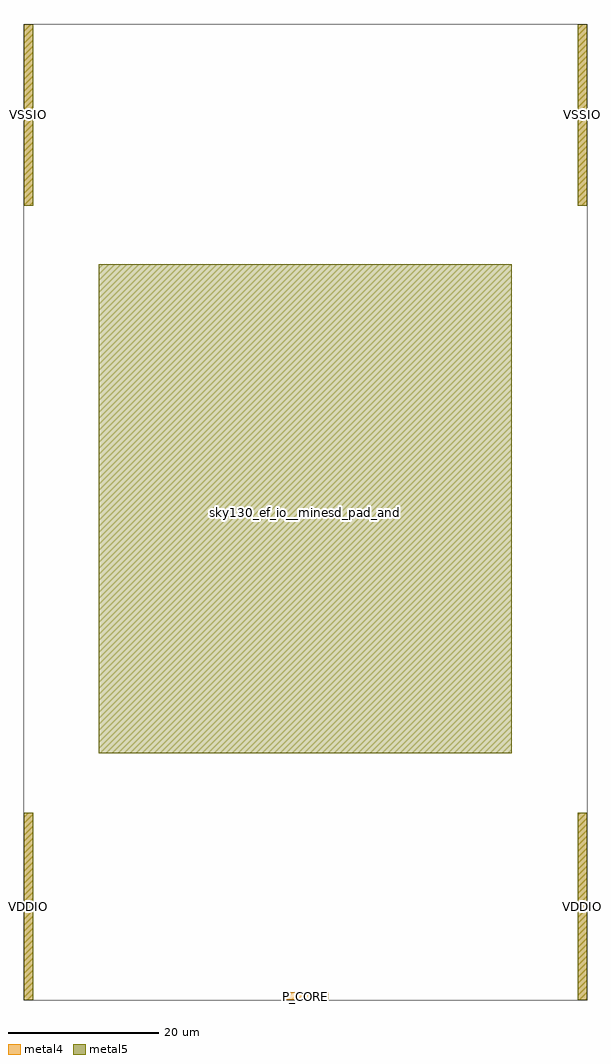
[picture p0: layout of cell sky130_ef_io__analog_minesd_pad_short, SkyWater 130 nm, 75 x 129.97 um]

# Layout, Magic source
magic
tech sky130B
magscale 1 2
<< metal4 >>
rect 0 35157 254 40000
rect 14746 35157 15000 40000
rect 0 14007 254 19000
rect 6904 14009 8104 14209
rect 14746 14007 15000 19000
<< metal5 >>
rect 0 35157 254 40000
rect 14746 35157 15000 40000
rect 2000 20574 12990 33596
rect 0 14007 254 18997
rect 14746 14007 15000 18997
use sky130_ef_io__minesd_pad_and_pg  sky130_ef_io__minesd_pad_and_pg_0
transform 1 0 -8 0 1 13
box 8 13994 15008 39987
<< labels >>
flabel metal4 s 0 35157 254 40000 3 FreeSans 1015 0 0 0 VSSIO
port 4 nsew
flabel metal4 s 14746 35157 15000 40000 3 FreeSans 1015 180 0 0 VSSIO
port 4 nsew
flabel metal4 s 6904 14009 8104 14209 0 FreeSans 1400 0 0 0 P_CORE
port 1 nsew
flabel metal5 s 2000 20574 12990 33596 0 FreeSans 3906 0 0 0 P_PAD
port 2 nsew
flabel metal5 s 14746 14007 15000 18997 3 FreeSans 1015 180 0 0 VDDIO
port 3 nsew
flabel metal5 s 0 14007 254 18997 3 FreeSans 1015 0 0 0 VDDIO
port 3 nsew
flabel metal4 s 14746 14007 15000 19000 3 FreeSans 1015 180 0 0 VDDIO
port 3 nsew
flabel metal4 s 0 14007 254 19000 3 FreeSans 1015 0 0 0 VDDIO
port 3 nsew
flabel metal5 s 0 35157 254 40000 3 FreeSans 1015 0 0 0 VSSIO
port 4 nsew
flabel metal5 s 14746 35157 15000 40000 3 FreeSans 1015 180 0 0 VSSIO
port 4 nsew
flabel metal4 s 14873 37578 14873 37578 3 FreeSans 1015 180 0 0 VSSIO
flabel metal4 s 127 37578 127 37578 3 FreeSans 1015 0 0 0 VSSIO
<< properties >>
string GDS_END 7537876
string GDS_FILE $PDKPATH/libs.ref/sky130_fd_io/gds/sky130_ef_io__analog.gds
string GDS_START 7535634
<< end >>
